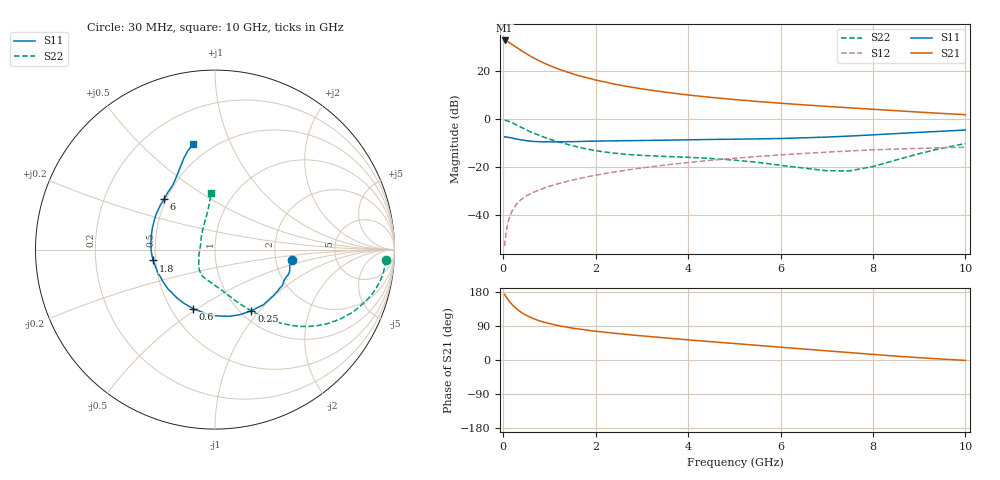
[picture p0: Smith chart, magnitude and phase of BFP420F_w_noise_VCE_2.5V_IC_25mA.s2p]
! Infineon Technologies  Discrete & RF Semiconductors
! BFP420F
! VCE =  2.5 V,  IC =  25 mA
! Common Emitter S-Parameters:  Sep 2011
# GHz  S  MA  R  50
!  f  S11  S21  S12  S22
! GHz  MAG  ANG  MAG  ANG  MAG  ANG  MAG  ANG
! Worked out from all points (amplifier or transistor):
!   54 points, 30 MHz to 10 GHz, reference 50 ohm
!   highest |S21| = 32.8 dB at 30 MHz (marker M1)
!   |S21| within 3 dB of that: start of sweep to 297.7 MHz
!   unconditionally stable (mu >= 1): 1.552 GHz to end of sweep
!   at 120 MHz: K = 0.29, MSG = 36.9 dB, |S12| = -41.8 dB
!   at 1.3 GHz: K = 0.94, MSG = 23.2 dB, |S12| = -26.2 dB
!   at 10 GHz: K = 1.23, MAG = 3.9 dB, |S12| = -11.6 dB
!   lowest NFmin = 1.66 dB at 450 MHz
!   S11 on the Smith chart (normalised r, x): 30 MHz: 2.48, -0.35; 250 MHz: 1.12, -0.91; 600 MHz: 0.64, -0.48; 1.8 GHz: 0.48, -0.07; 6 GHz: 0.49, +0.33; 10 GHz: 0.40, +0.73
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0.03  0.4339 -7.5  43.79 173.2  0.0023 86.3  0.9521 -3.5
0.05  0.4258 -11.9  42.94 168.9  0.0032 90.1  0.9491 -6.4
0.07  0.4321 -18.3  42.51 165.6  0.0049 85.3  0.9421 -9.3
0.12  0.4198 -31.0  40.09 156.5  0.0081 80.7  0.9098 -15.8
0.2  0.4088 -48.9  35.71 145.4  0.0129 75.1  0.8432 -24.5
0.25  0.3962 -59.2  33.1 139.2  0.0153 72.9  0.7977 -29.0
0.3  0.3885 -69.0  30.9 134.0  0.0178 70.7  0.7556 -32.9
0.4  0.3716 -85.2  26.63 125.0  0.0219 67.6  0.675 -39.4
0.5  0.3592 -98.7  23.2 118.0  0.0255 65.7  0.6052 -44.4
0.6  0.3507 -110.4  20.34 112.0  0.0287 64.4  0.5455 -48.5
0.8  0.343 -128.0  16.17 102.7  0.0347 63.5  0.4558 -54.9
1  0.3415 -140.6  13.24 96.2  0.0405 63.2  0.389 -60.0
1.3  0.3402 -154.6  10.26 88.4  0.0489 62.9  0.3186 -66.7
1.7  0.3473 -167.7  7.801 80.8  0.0602 62.4  0.2543 -75.2
1.8  0.3502 -170.1  7.385 79.3  0.0631 62.4  0.243 -77.6
2.4  0.3565 177.3  5.421 70.6  0.0804 60.5  0.1983 -90.6
3.5  0.3689 161.0  3.68 58.4  0.112 56.0  0.1694 -109.2
5.5  0.3925 140.5  2.356 38.6  0.1688 44.2  0.1278 -135.4
6  0.3996 135.1  2.167 33.8  0.1823 41.0  0.1107 -144.6
7  0.4278 123.6  1.861 24.2  0.2076 34.3  0.0852 -177.1
8.5  0.506 112.0  1.514 10.2  0.2412 23.5  0.1425 117.2
10  0.5997 102.0  1.252 -1.0  0.2635 14.2  0.3145 94.1
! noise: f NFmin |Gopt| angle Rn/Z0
0.45  1.66  0.23  -177  0.1
0.9  1.68  0.25  -175  0.13
1.9  1.81  0.32  -166  0.14
2.4  1.87  0.32  -160  0.12
3.5  2.1  0.32  -151  0.17
